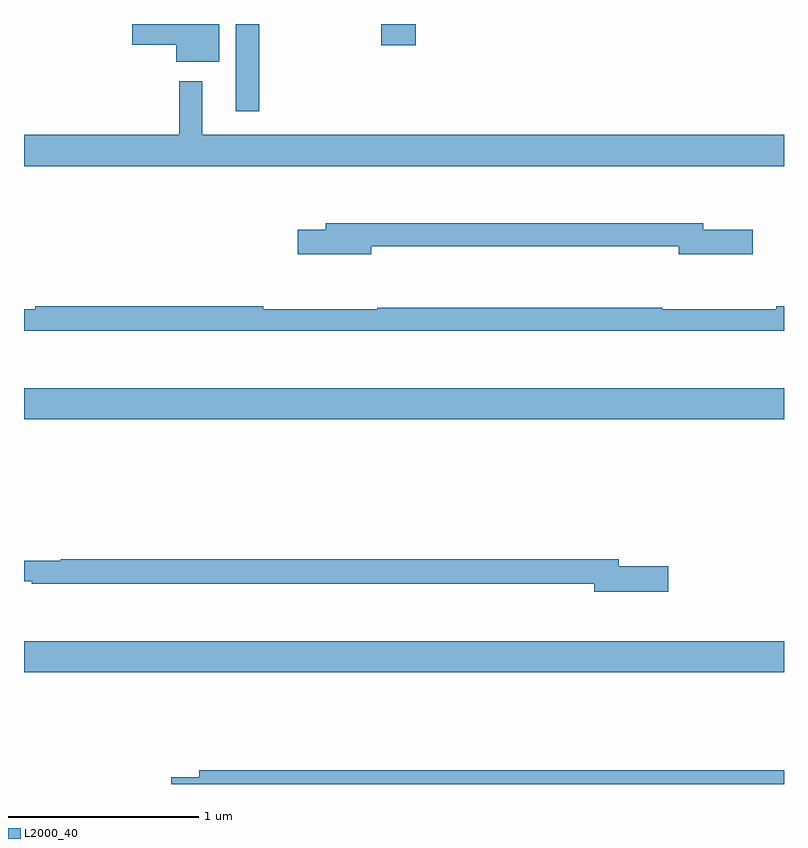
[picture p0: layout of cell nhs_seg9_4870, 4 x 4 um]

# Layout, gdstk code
import gdstk
lib = gdstk.Library(unit=1e-6, precision=1e-09)
def R(c, l, rs):  # rectangles x0, y0, x1, y1
    for r in rs: c.add(gdstk.rectangle(r[:2], r[2:], *l))
def P(c, l, *ps):  # polygons
    for p in ps: c.add(gdstk.Polygon(p, *l))
L2000_40 = (2000, 40)

nhs_seg9_4870 = lib.new_cell('nhs_seg9_4870')
R(nhs_seg9_4870, L2000_40, [(393,1195.088,397,1195.252), (393,1196.42,397,1196.584), (394.115,1198.041,394.237,1198.5), (394.88,1198.389,395.063,1198.5)])
P(nhs_seg9_4870, L2000_40, [(394.027,1198.5),(393.57,1198.5),(393.57,1198.39),(393.8,1198.39),(393.8,1198.301),(394.027,1198.301)],
  [(397,1197.916),(393.937,1197.916),(393.937,1198.198),(393.816,1198.198),(393.816,1197.916),(393,1197.916),(393,1197.752),(397,1197.752)],
  [(394.828,1197.33),(396.446,1197.33),(396.446,1197.287),(396.835,1197.287),(396.835,1197.417),(396.574,1197.417),(396.574,1197.451),(394.589,1197.451),(394.589,1197.417),(394.44,1197.417),(394.44,1197.287),(394.828,1197.287)],
  [(397,1197.014),(396.958,1197.014),(396.958,1196.999),(396.358,1196.999),(396.358,1197.007),(394.858,1197.007),(394.858,1196.999),(394.258,1196.999),(394.258,1197.014),(393.058,1197.014),(393.058,1196.999),(393,1196.999),(393,1196.886),(397,1196.886)],
  [(396.391,1195.646),(396.13,1195.646),(396.13,1195.682),(393.194,1195.682),(393.194,1195.675),(393,1195.675),(393,1195.566),(393.04,1195.566),(393.04,1195.554),(396.002,1195.554),(396.002,1195.511),(396.391,1195.511)],
  [(397,1194.572),(393.923,1194.572),(393.923,1194.536),(393.774,1194.536),(393.774,1194.5),(397,1194.5)])

lib.write_gds('nhs_seg9_4870.gds')
